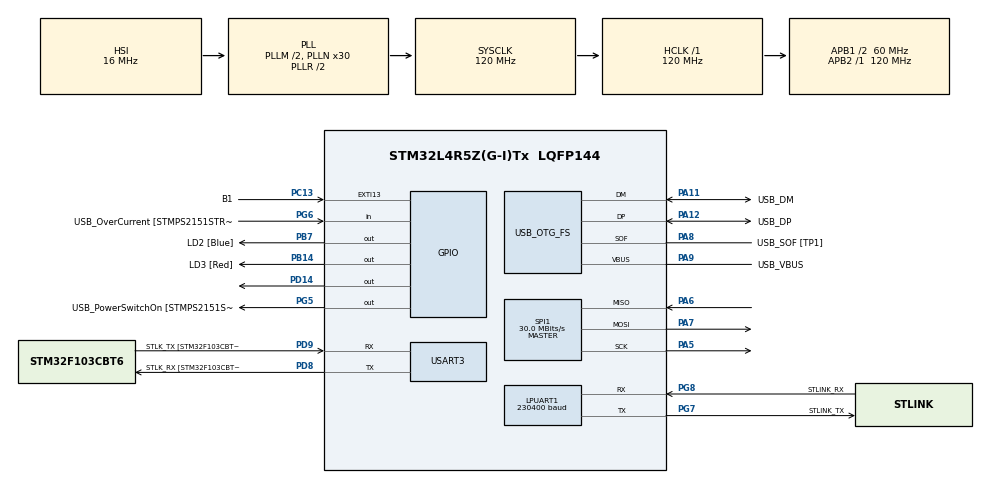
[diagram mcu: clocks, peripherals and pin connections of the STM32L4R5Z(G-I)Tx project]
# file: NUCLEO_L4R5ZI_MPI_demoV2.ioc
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Dma.LPUART1_RX.0.Direction=DMA_PERIPH_TO_MEMORY
Dma.LPUART1_RX.0.EventEnable=DISABLE
Dma.LPUART1_RX.0.Instance=DMA1_Channel1
Dma.LPUART1_RX.0.MemDataAlignment=DMA_MDATAALIGN_BYTE
Dma.LPUART1_RX.0.MemInc=DMA_MINC_ENABLE
Dma.LPUART1_RX.0.Mode=DMA_NORMAL
Dma.LPUART1_RX.0.PeriphDataAlignment=DMA_PDATAALIGN_BYTE
Dma.LPUART1_RX.0.PeriphInc=DMA_PINC_DISABLE
Dma.LPUART1_RX.0.Polarity=HAL_DMAMUX_REQUEST_GEN_RISING
Dma.LPUART1_RX.0.Priority=DMA_PRIORITY_LOW
Dma.LPUART1_RX.0.RequestNumber=1
Dma.LPUART1_RX.0.SignalID=NONE
Dma.LPUART1_RX.0.SyncEnable=DISABLE
Dma.LPUART1_RX.0.SyncPolarity=HAL_DMAMUX_SYNC_NO_EVENT
Dma.LPUART1_RX.0.SyncRequestNumber=1
Dma.LPUART1_RX.0.SyncSignalID=NONE
Dma.Request0=LPUART1_RX
LPUART1.BaudRate=230400
LPUART1.WordLength=UART_WORDLENGTH_8B
Mcu.Family=STM32L4
Mcu.Name=STM32L4R5Z(G-I)Tx
Mcu.Package=LQFP144
NVIC.DMA1_Channel1_IRQn=true\:0\:0\:false\:false\:true\:false\:true
NVIC.PriorityGroup=NVIC_PRIORITYGROUP_4
PA10.GPIO_Label=USB_ID
PA10.Signal=USB_OTG_FS_ID
PA11.GPIO_Label=USB_DM
PA11.Mode=Device_Only
PA11.Signal=USB_OTG_FS_DM
PA12.GPIO_Label=USB_DP
PA12.Mode=Device_Only
PA12.Signal=USB_OTG_FS_DP
PA13\ (JTMS/SWDIO).GPIO_Label=TMS
PA13\ (JTMS/SWDIO).Mode=Trace_Asynchronous_SW
PA13\ (JTMS/SWDIO).Signal=SYS_JTMS-SWDIO
PA14\ (JTCK/SWCLK).GPIO_Label=TCK
PA14\ (JTCK/SWCLK).Mode=Trace_Asynchronous_SW
PA14\ (JTCK/SWCLK).Signal=SYS_JTCK-SWCLK
PA5.Mode=Full_Duplex_Master
PA5.Signal=SPI1_SCK
PA6.Mode=Full_Duplex_Master
PA6.Signal=SPI1_MISO
PA7.Mode=Full_Duplex_Master
PA7.Signal=SPI1_MOSI
PA8.GPIO_Label=USB_SOF [TP1]
PA8.Mode=Activate_SOF_FS
PA8.Signal=USB_OTG_FS_SOF
PA9.GPIO_Label=USB_VBUS
PA9.Mode=Activate_VBUS
PA9.Signal=USB_OTG_FS_VBUS
PB14.GPIO_Label=LD3 [Red]
PB14.Signal=GPIO_Output
PB3\ (JTDO/TRACESWO).GPIO_Label=SWO
PB3\ (JTDO/TRACESWO).Mode=Trace_Asynchronous_SW
PB3\ (JTDO/TRACESWO).Signal=SYS_JTDO-SWO
PB7.GPIO_Label=LD2 [Blue]
PB7.Signal=GPIO_Output
PC13.GPIO_Label=B1
PC13.Signal=GPXTI13
PC14-OSC32_IN\ (PC14).Mode=LSE-External-Oscillator
PC14-OSC32_IN\ (PC14).Signal=RCC_OSC32_IN
PC15-OSC32_OUT\ (PC15).Mode=LSE-External-Oscillator
PC15-OSC32_OUT\ (PC15).Signal=RCC_OSC32_OUT
PD14.Signal=GPIO_Output
PD8.GPIO_Label=STLK_RX [STM32F103CBT6_PA3]
PD8.Mode=Asynchronous
PD8.Signal=USART3_TX
PD9.GPIO_Label=STLK_TX [STM32F103CBT6_PA2]
PD9.Mode=Asynchronous
PD9.Signal=USART3_RX
PG5.GPIO_Label=USB_PowerSwitchOn [STMPS2151STR_EN]
PG5.Signal=GPIO_Output
PG6.GPIO_Label=USB_OverCurrent [STMPS2151STR_FAULT]
PG6.Signal=GPIO_Input
PG7.GPIO_Label=STLINK_TX
PG7.Mode=Asynchronous
PG7.Signal=LPUART1_TX
PG8.GPIO_Label=STLINK_RX
PG8.Mode=Asynchronous
PG8.Signal=LPUART1_RX
PH0-OSC_IN\ (PH0).Signal=RCC_OSC_IN
PH1-OSC_OUT\ (PH1).Signal=RCC_OSC_OUT
ProjectManager.HeapSize=0x200
ProjectManager.StackSize=0x400
ProjectManager.TargetToolchain=STM32CubeIDE
RCC.48MHZClocksFreq_Value=24000000
RCC.ADCFreq_Value=96000000
RCC.AHBFreq_Value=120000000
RCC.APB1CLKDivider=RCC_HCLK_DIV2
RCC.APB1Freq_Value=60000000
RCC.APB1TimFreq_Value=120000000
RCC.APB2Freq_Value=120000000
RCC.APB2TimFreq_Value=120000000
RCC.CK48CLockSelection=RCC_USBCLKSOURCE_HSI48
RCC.CortexFreq_Value=120000000
RCC.HCLKFreq_Value=120000000
RCC.HSE_VALUE=8000000
RCC.HSI48_VALUE=48000000
RCC.HSI_VALUE=16000000
RCC.MSI_VALUE=4000000
RCC.PLLM1=2
RCC.PLLMUL=RCC_PLL_MUL9
RCC.PLLN=30
RCC.PLLSAI1N=12
RCC.PLLSourceVirtual=RCC_PLLSOURCE_HSI
RCC.PRESCALERUSB=RCC_USBCLKSOURCE_PLL_DIV1_5
RCC.SYSCLKFreq_VALUE=120000000
RCC.SYSCLKSource=RCC_SYSCLKSOURCE_PLLCLK
RCC.SYSCLKSourceVirtual=RCC_SYSCLKSOURCE_PLLCLK
RCC.USBFreq_Value=48000000
RCC.VCOOutputFreq_Value=240000000
SPI1.BaudRatePrescaler=SPI_BAUDRATEPRESCALER_4
SPI1.CalculateBaudRate=30.0 MBits/s
SPI1.DataSize=SPI_DATASIZE_8BIT
SPI1.Direction=SPI_DIRECTION_2LINES
SPI1.Mode=SPI_MODE_MASTER
SPI1.VirtualType=VM_MASTER
USART3.VirtualMode-Asynchronous=VM_ASYNC
USB_OTG_FS.VirtualMode=Device_Only
board=NUCLEO-L4R5ZI

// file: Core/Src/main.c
/* USER CODE BEGIN Header */
/**
  ******************************************************************************
  * @file           : main.c
  * @brief          : Main program body
  ******************************************************************************
  * @attention
  *
  * <h2><center>&copy; Copyright (c) 2021 STMicroelectronics.
  * All rights reserved.</center></h2>
  *
  * This software component is licensed by ST under BSD 3-Clause license,
  * the "License"; You may not use this file except in compliance with the
  * License. You may obtain a copy of the License at:
  *                        opensource.org/licenses/BSD-3-Clause
  *
  ******************************************************************************
  */
/* USER CODE END Header */
#include "main.h"

/* USER CODE BEGIN Includes */
#include <string.h>
/* USER CODE END Includes */

UART_HandleTypeDef hlpuart1;
UART_HandleTypeDef huart3;
DMA_HandleTypeDef hdma_lpuart1_rx;

SPI_HandleTypeDef hspi1;

PCD_HandleTypeDef hpcd_USB_OTG_FS;

/* USER CODE BEGIN PV */

//note assuming allocating all storage for MPI
const uint8_t FLASH_READ = 0x03;
const uint8_t FLASH_WRITE = 0x02;
const uint8_t FLASH_WREN = 0x06;
const uint8_t FLASH_WRDI = 0x04;
const uint8_t FLASH_ER4 = 0x20;
const uint8_t FLASH_ER32 = 0x52;
const uint8_t FLASH_ER64 = 0xd8;
const uint8_t FLASH_ERCP = 0xC7;
const uint8_t FLASH_STATREG1 = 0X05;

/* USER CODE END PV */

void SystemClock_Config(void);
static void MX_GPIO_Init(void);
static void MX_DMA_Init(void);
static void MX_LPUART1_UART_Init(void);
static void MX_USART3_UART_Init(void);
static void MX_USB_OTG_FS_PCD_Init(void);
static void MX_SPI1_Init(void);
/* USER CODE BEGIN PFP */

void read_flash_memory(uint32_t read_adress);

/* USER CODE END PFP */

/* USER CODE BEGIN 0 */

uint8_t UART1_rxBuffer[160] = {0};
uint8_t MPI_sync_bytes[4] = {0x0c, 0xff, 0xff, 0x0c};
uint8_t MPI_housekeeping[18] = {0};
uint8_t UART1_txBuffer[160] = {0};
uint8_t flash_buffer[256] = {0};
uint8_t flash_buffer_capacity = 0;
uint32_t page_number = 0;
uint8_t address[3] = {0};
uint8_t read_address[3] = {0};
uint8_t spiRX_buf[256] = {0};

uint8_t mpi_read_buffer[7650];	//strictly for verifying functionality
char uart_buf[160];

/* USER CODE END 0 */

int main(void)
{

  /* MCU Configuration--------------------------------------------------------*/

  /* Reset of all peripherals, Initializes the Flash interface and the Systick. */
  HAL_Init();

  /* Configure the system clock */
  SystemClock_Config();

  /* Initialize all configured peripherals */
  MX_GPIO_Init();
  MX_DMA_Init();
  MX_LPUART1_UART_Init();
  MX_USART3_UART_Init();
  MX_USB_OTG_FS_PCD_Init();
  MX_SPI1_Init();
  /* USER CODE BEGIN 2 */

  // Send something to UART
	strcpy((char*)uart_buf, "Testing MPI Demo\r\n");
	HAL_UART_Transmit(&hlpuart1, (uint8_t *)uart_buf, strlen((char*)uart_buf), 160);

	//start DMA
	HAL_UART_Receive_DMA(&hlpuart1, UART1_rxBuffer, 160);

	//check to see if status reg
	HAL_GPIO_WritePin(GPIOD, GPIO_PIN_14, GPIO_PIN_RESET);
	HAL_SPI_Transmit(&hspi1, (uint8_t *)&FLASH_STATREG1, 1, 100);	//opcode for read
	HAL_SPI_Receive(&hspi1, (uint8_t *)spiRX_buf, 1, 100);	//Receive data
	HAL_GPIO_WritePin(GPIOD, GPIO_PIN_14, GPIO_PIN_SET);

	//write enable
	HAL_GPIO_WritePin(GPIOD, GPIO_PIN_14, GPIO_PIN_RESET);
	HAL_SPI_Transmit(&hspi1, (uint8_t*)&FLASH_WREN, 1, 100);
	HAL_GPIO_WritePin(GPIOD, GPIO_PIN_14, GPIO_PIN_SET);

	//check to see if status reg
	HAL_GPIO_WritePin(GPIOD, GPIO_PIN_14, GPIO_PIN_RESET);
	HAL_SPI_Transmit(&hspi1, (uint8_t *)&FLASH_STATREG1, 1, 100);	//opcode for read
	HAL_SPI_Receive(&hspi1, (uint8_t *)spiRX_buf, 1, 100);	//Receive data
	HAL_GPIO_WritePin(GPIOD, GPIO_PIN_14, GPIO_PIN_SET);

	//erase chip (16 pages)
	HAL_GPIO_WritePin(GPIOD, GPIO_PIN_14, GPIO_PIN_RESET);
	HAL_SPI_Transmit(&hspi1, (uint8_t*)&FLASH_ERCP, 1, 100);
	HAL_GPIO_WritePin(GPIOD, GPIO_PIN_14, GPIO_PIN_SET);

	uint8_t wip = 1;
	while (wip)	//wait will erase is done
	{

		// Read status register
		HAL_GPIO_WritePin(GPIOD, GPIO_PIN_14, GPIO_PIN_RESET);
		HAL_SPI_Transmit(&hspi1, (uint8_t *)&FLASH_STATREG1, 1, 100);	//opcode for read
		HAL_SPI_Receive(&hspi1, (uint8_t *)spiRX_buf, 1, 100);	//Receive data
		HAL_GPIO_WritePin(GPIOD, GPIO_PIN_14, GPIO_PIN_SET);

		// Mask out WIP bit
		wip = spiRX_buf[0] & 0b00000001;
	}

	//turn on frame transmitting TC
	UART1_txBuffer[0] = 0x54;
	UART1_txBuffer[1] = 0x43;
	UART1_txBuffer[2] = 0x9;
	HAL_UART_Transmit(&hlpuart1, (uint8_t *)UART1_txBuffer, strlen((char*)UART1_txBuffer), 160);

  /* USER CODE END 2 */

  /* Infinite loop */
  while (1)
  {

  }
}

void SystemClock_Config(void)
{
  RCC_OscInitTypeDef RCC_OscInitStruct = {0};
  RCC_ClkInitTypeDef RCC_ClkInitStruct = {0};
  RCC_PeriphCLKInitTypeDef PeriphClkInit = {0};

  /** Configure the main internal regulator output voltage
  */
  if (HAL_PWREx_ControlVoltageScaling(PWR_REGULATOR_VOLTAGE_SCALE1_BOOST) != HAL_OK)
  {
    Error_Handler();
  }
  /** Initializes the RCC Oscillators according to the specified parameters
  * in the RCC_OscInitTypeDef structure.
  */
  RCC_OscInitStruct.OscillatorType = RCC_OSCILLATORTYPE_HSI48|RCC_OSCILLATORTYPE_HSI;
  RCC_OscInitStruct.HSIState = RCC_HSI_ON;
  RCC_OscInitStruct.HSI48State = RCC_HSI48_ON;
  RCC_OscInitStruct.HSICalibrationValue = RCC_HSICALIBRATION_DEFAULT;
  RCC_OscInitStruct.PLL.PLLState = RCC_PLL_ON;
  RCC_OscInitStruct.PLL.PLLSource = RCC_PLLSOURCE_HSI;
  RCC_OscInitStruct.PLL.PLLM = 2;
  RCC_OscInitStruct.PLL.PLLN = 30;
  RCC_OscInitStruct.PLL.PLLP = RCC_PLLP_DIV2;
  RCC_OscInitStruct.PLL.PLLQ = RCC_PLLQ_DIV2;
  RCC_OscInitStruct.PLL.PLLR = RCC_PLLR_DIV2;
  if (HAL_RCC_OscConfig(&RCC_OscInitStruct) != HAL_OK)
  {
    Error_Handler();
  }
  /** Initializes the CPU, AHB and APB buses clocks
  */
  RCC_ClkInitStruct.ClockType = RCC_CLOCKTYPE_HCLK|RCC_CLOCKTYPE_SYSCLK
                              |RCC_CLOCKTYPE_PCLK1|RCC_CLOCKTYPE_PCLK2;
  RCC_ClkInitStruct.SYSCLKSource = RCC_SYSCLKSOURCE_PLLCLK;
  RCC_ClkInitStruct.AHBCLKDivider = RCC_SYSCLK_DIV1;
  RCC_ClkInitStruct.APB1CLKDivider = RCC_HCLK_DIV2;
  RCC_ClkInitStruct.APB2CLKDivider = RCC_HCLK_DIV1;

  if (HAL_RCC_ClockConfig(&RCC_ClkInitStruct, FLASH_LATENCY_5) != HAL_OK)
  {
    Error_Handler();
  }
  PeriphClkInit.PeriphClockSelection = RCC_PERIPHCLK_USART3|RCC_PERIPHCLK_LPUART1
                              |RCC_PERIPHCLK_USB;
  PeriphClkInit.Usart3ClockSelection = RCC_USART3CLKSOURCE_PCLK1;
  PeriphClkInit.Lpuart1ClockSelection = RCC_LPUART1CLKSOURCE_PCLK1;
  PeriphClkInit.UsbClockSelection = RCC_USBCLKSOURCE_HSI48;
  if (HAL_RCCEx_PeriphCLKConfig(&PeriphClkInit) != HAL_OK)
  {
    Error_Handler();
  }
}

static void MX_LPUART1_UART_Init(void)
{

  hlpuart1.Instance = LPUART1;
  hlpuart1.Init.BaudRate = 230400;
  hlpuart1.Init.WordLength = UART_WORDLENGTH_8B;
  hlpuart1.Init.StopBits = UART_STOPBITS_1;
  hlpuart1.Init.Parity = UART_PARITY_NONE;
  hlpuart1.Init.Mode = UART_MODE_TX_RX;
  hlpuart1.Init.HwFlowCtl = UART_HWCONTROL_NONE;
  hlpuart1.Init.OneBitSampling = UART_ONE_BIT_SAMPLE_DISABLE;
  hlpuart1.Init.ClockPrescaler = UART_PRESCALER_DIV1;
  hlpuart1.AdvancedInit.AdvFeatureInit = UART_ADVFEATURE_NO_INIT;
  hlpuart1.FifoMode = UART_FIFOMODE_DISABLE;
  if (HAL_UART_Init(&hlpuart1) != HAL_OK)
  {
    Error_Handler();
  }
  if (HAL_UARTEx_SetTxFifoThreshold(&hlpuart1, UART_TXFIFO_THRESHOLD_1_8) != HAL_OK)
  {
    Error_Handler();
  }
  if (HAL_UARTEx_SetRxFifoThreshold(&hlpuart1, UART_RXFIFO_THRESHOLD_1_8) != HAL_OK)
  {
    Error_Handler();
  }
  if (HAL_UARTEx_DisableFifoMode(&hlpuart1) != HAL_OK)
  {
    Error_Handler();
  }

}

static void MX_USART3_UART_Init(void)
{

  huart3.Instance = USART3;
  huart3.Init.BaudRate = 115200;
  huart3.Init.WordLength = UART_WORDLENGTH_8B;
  huart3.Init.StopBits = UART_STOPBITS_1;
  huart3.Init.Parity = UART_PARITY_NONE;
  huart3.Init.Mode = UART_MODE_TX_RX;
  huart3.Init.HwFlowCtl = UART_HWCONTROL_NONE;
  huart3.Init.OverSampling = UART_OVERSAMPLING_16;
  huart3.Init.OneBitSampling = UART_ONE_BIT_SAMPLE_DISABLE;
  huart3.Init.ClockPrescaler = UART_PRESCALER_DIV1;
  huart3.AdvancedInit.AdvFeatureInit = UART_ADVFEATURE_NO_INIT;
  if (HAL_UART_Init(&huart3) != HAL_OK)
  {
    Error_Handler();
  }
  if (HAL_UARTEx_SetTxFifoThreshold(&huart3, UART_TXFIFO_THRESHOLD_1_8) != HAL_OK)
  {
    Error_Handler();
  }
  if (HAL_UARTEx_SetRxFifoThreshold(&huart3, UART_RXFIFO_THRESHOLD_1_8) != HAL_OK)
  {
    Error_Handler();
  }
  if (HAL_UARTEx_DisableFifoMode(&huart3) != HAL_OK)
  {
    Error_Handler();
  }

}

static void MX_SPI1_Init(void)
{

  /* SPI1 parameter configuration*/
  hspi1.Instance = SPI1;
  hspi1.Init.Mode = SPI_MODE_MASTER;
  hspi1.Init.Direction = SPI_DIRECTION_2LINES;
  hspi1.Init.DataSize = SPI_DATASIZE_8BIT;
  hspi1.Init.CLKPolarity = SPI_POLARITY_LOW;
  hspi1.Init.CLKPhase = SPI_PHASE_1EDGE;
  hspi1.Init.NSS = SPI_NSS_SOFT;
  hspi1.Init.BaudRatePrescaler = SPI_BAUDRATEPRESCALER_4;
  hspi1.Init.FirstBit = SPI_FIRSTBIT_MSB;
  hspi1.Init.TIMode = SPI_TIMODE_DISABLE;
  hspi1.Init.CRCCalculation = SPI_CRCCALCULATION_DISABLE;
  hspi1.Init.CRCPolynomial = 7;
  hspi1.Init.CRCLength = SPI_CRC_LENGTH_DATASIZE;
  hspi1.Init.NSSPMode = SPI_NSS_PULSE_ENABLE;
  if (HAL_SPI_Init(&hspi1) != HAL_OK)
  {
    Error_Handler();
  }

}

static void MX_USB_OTG_FS_PCD_Init(void)
{

  hpcd_USB_OTG_FS.Instance = USB_OTG_FS;
  hpcd_USB_OTG_FS.Init.dev_endpoints = 6;
  hpcd_USB_OTG_FS.Init.phy_itface = PCD_PHY_EMBEDDED;
  hpcd_USB_OTG_FS.Init.Sof_enable = ENABLE;
  hpcd_USB_OTG_FS.Init.low_power_enable = DISABLE;
  hpcd_USB_OTG_FS.Init.lpm_enable = DISABLE;
  hpcd_USB_OTG_FS.Init.battery_charging_enable = ENABLE;
  hpcd_USB_OTG_FS.Init.use_dedicated_ep1 = DISABLE;
  hpcd_USB_OTG_FS.Init.vbus_sensing_enable = ENABLE;
  if (HAL_PCD_Init(&hpcd_USB_OTG_FS) != HAL_OK)
  {
    Error_Handler();
  }

}

static void MX_DMA_Init(void)
{

  /* DMA controller clock enable */
  __HAL_RCC_DMAMUX1_CLK_ENABLE();
  __HAL_RCC_DMA1_CLK_ENABLE();

  /* DMA interrupt init */
  /* DMA1_Channel1_IRQn interrupt configuration */
  HAL_NVIC_SetPriority(DMA1_Channel1_IRQn, 0, 0);
  HAL_NVIC_EnableIRQ(DMA1_Channel1_IRQn);

}

static void MX_GPIO_Init(void)
{
  GPIO_InitTypeDef GPIO_InitStruct = {0};

  /* GPIO Ports Clock Enable */
  __HAL_RCC_GPIOC_CLK_ENABLE();
  __HAL_RCC_GPIOH_CLK_ENABLE();
  __HAL_RCC_GPIOA_CLK_ENABLE();
  __HAL_RCC_GPIOB_CLK_ENABLE();
  __HAL_RCC_GPIOD_CLK_ENABLE();
  __HAL_RCC_GPIOG_CLK_ENABLE();
  HAL_PWREx_EnableVddIO2();

  /*Configure GPIO pin Output Level */
  HAL_GPIO_WritePin(GPIOB, LD3_Pin|LD2_Pin, GPIO_PIN_RESET);

  /*Configure GPIO pin Output Level */
  HAL_GPIO_WritePin(GPIOD, GPIO_PIN_14, GPIO_PIN_RESET);

  /*Configure GPIO pin Output Level */
  HAL_GPIO_WritePin(USB_PowerSwitchOn_GPIO_Port, USB_PowerSwitchOn_Pin, GPIO_PIN_RESET);

  /*Configure GPIO pin : B1_Pin */
  GPIO_InitStruct.Pin = B1_Pin;
  GPIO_InitStruct.Mode = GPIO_MODE_IT_RISING;
  GPIO_InitStruct.Pull = GPIO_NOPULL;
  HAL_GPIO_Init(B1_GPIO_Port, &GPIO_InitStruct);

  /*Configure GPIO pins : LD3_Pin LD2_Pin */
  GPIO_InitStruct.Pin = LD3_Pin|LD2_Pin;
  GPIO_InitStruct.Mode = GPIO_MODE_OUTPUT_PP;
  GPIO_InitStruct.Pull = GPIO_NOPULL;
  GPIO_InitStruct.Speed = GPIO_SPEED_FREQ_LOW;
  HAL_GPIO_Init(GPIOB, &GPIO_InitStruct);

  /*Configure GPIO pin : PD14 */
  GPIO_InitStruct.Pin = GPIO_PIN_14;
  GPIO_InitStruct.Mode = GPIO_MODE_OUTPUT_PP;
  GPIO_InitStruct.Pull = GPIO_NOPULL;
  GPIO_InitStruct.Speed = GPIO_SPEED_FREQ_LOW;
  HAL_GPIO_Init(GPIOD, &GPIO_InitStruct);

  /*Configure GPIO pin : USB_PowerSwitchOn_Pin */
  GPIO_InitStruct.Pin = USB_PowerSwitchOn_Pin;
  GPIO_InitStruct.Mode = GPIO_MODE_OUTPUT_PP;
  GPIO_InitStruct.Pull = GPIO_NOPULL;
  GPIO_InitStruct.Speed = GPIO_SPEED_FREQ_LOW;
  HAL_GPIO_Init(USB_PowerSwitchOn_GPIO_Port, &GPIO_InitStruct);

  /*Configure GPIO pin : USB_OverCurrent_Pin */
  GPIO_InitStruct.Pin = USB_OverCurrent_Pin;
  GPIO_InitStruct.Mode = GPIO_MODE_INPUT;
  GPIO_InitStruct.Pull = GPIO_NOPULL;
  HAL_GPIO_Init(USB_OverCurrent_GPIO_Port, &GPIO_InitStruct);

}

/* USER CODE BEGIN 4 */
void HAL_UART_RxCpltCallback(UART_HandleTypeDef *hlpuart1)
{
	//toggle red to show
	HAL_GPIO_TogglePin(GPIOB, GPIO_PIN_14);

	//return what i just got cuz idk whats heppening :/
	HAL_UART_Transmit(hlpuart1, (uint8_t *)UART1_rxBuffer, strlen((char*)UART1_rxBuffer), 160);

	//if its a data frame
	if(UART1_rxBuffer[0] == MPI_sync_bytes[0] && UART1_rxBuffer[1] == MPI_sync_bytes[1] && UART1_rxBuffer[2] == MPI_sync_bytes[2] && UART1_rxBuffer[3] == MPI_sync_bytes[3]){

		//calculate address array from page number
		if(page_number == 3){
			page_number++;
			page_number--;
		}
//		uint8_t d = 0xff;
//		uint8_t e = 0x

		address[2] = ((page_number*256) & (uint32_t)0x0000ff);
		address[1] = ((page_number*256) & (uint32_t)0x00ff00)>>8;
		address[0] = ((page_number*256) & (uint32_t)0xff0000)>>16;

//		//address: [0][1][2]
//		address[2] = 0b00000000;
//		address[1] = 0b00000000;
//		address[0] = 0b00000000;

		//store header data (uncomment if needed)
//		for(int i = 0; i < 18; i++){
//			MPI_housekeeping[i] = UART1_rxBuffer[4+i];
//		}

		//toggle led blue to show
		HAL_GPIO_TogglePin(GPIOB, GPIO_PIN_7);

		//store into MPI buffer
		for(int i = 0; i<160; i++){
			//if buffer if full (time to write a full page)
			if(flash_buffer_capacity == 255){
			//add stored bytes

/* removes for debugging, going to do chip erase
				//erase sector if needed
				if(page_number % 16 == 0){//if onto new sector erase that sector so it can be properly written to
				   //write enable
					HAL_GPIO_WritePin(GPIOD, GPIO_PIN_14, GPIO_PIN_RESET);
					HAL_SPI_Transmit(&hspi1, (uint8_t*)&FLASH_WREN, 1, 100);
					HAL_GPIO_WritePin(GPIOD, GPIO_PIN_14, GPIO_PIN_SET);

					//erase sector (16 pages)
					HAL_GPIO_WritePin(GPIOD, GPIO_PIN_14, GPIO_PIN_RESET);
					HAL_SPI_Transmit(&hspi1, (uint8_t*)&FLASH_ER4, 1, 100);
					HAL_SPI_Transmit(&hspi1, (uint8_t*)&address, 3, 100);			//write address
					HAL_GPIO_WritePin(GPIOD, GPIO_PIN_14, GPIO_PIN_SET);

					uint8_t wip = 1;
					while (wip)	//wait will erase is done
					{
						// Read status register
						HAL_GPIO_WritePin(GPIOD, GPIO_PIN_14, GPIO_PIN_RESET);
						HAL_SPI_Transmit(&hspi1, (uint8_t *)&FLASH_STATREG1, 1, 100);	//opcode for read
						HAL_SPI_Receive(&hspi1, (uint8_t *)spiRX_buf, 1, 100);	//Receive data
						HAL_GPIO_WritePin(GPIOD, GPIO_PIN_14, GPIO_PIN_SET);

						// Mask out WIP bit
						wip = spiRX_buf[0] & 0b00000001;
					}
				}

*/

				//write enable
				HAL_GPIO_WritePin(GPIOD, GPIO_PIN_14, GPIO_PIN_RESET);
				HAL_SPI_Transmit(&hspi1, (uint8_t*)&FLASH_WREN, 1, 100);
				HAL_GPIO_WritePin(GPIOD, GPIO_PIN_14, GPIO_PIN_SET);

				//write data
				HAL_GPIO_WritePin(GPIOD, GPIO_PIN_14, GPIO_PIN_RESET);	//cs low
				HAL_SPI_Transmit(&hspi1, (uint8_t*)&FLASH_WRITE, 1, 100);	//write opcode
				HAL_SPI_Transmit(&hspi1, (uint8_t*)&address, 3, 100);			//write address
				HAL_SPI_Transmit(&hspi1, (uint8_t*)&flash_buffer, 256, 100);//data
				HAL_GPIO_WritePin(GPIOD, GPIO_PIN_14, GPIO_PIN_SET);

				//wait till write is done
				uint8_t wip = 1;
				while (wip)
				{
					// Read status register
					HAL_GPIO_WritePin(GPIOD, GPIO_PIN_14, GPIO_PIN_RESET);
					HAL_SPI_Transmit(&hspi1, (uint8_t *)&FLASH_STATREG1, 1, 100);	//opcode for read
					HAL_SPI_Receive(&hspi1, (uint8_t *)spiRX_buf, 1, 100);	//Receive data
					HAL_GPIO_WritePin(GPIOD, GPIO_PIN_14, GPIO_PIN_SET);

					// Mask out WIP bit
					wip = spiRX_buf[0] & 0b00000001;
				}

				page_number+=1;

				if(page_number == 15){	//once 15 pages have been written

					read_address[0] = (0*0xff)& 0x000000ff;
					read_address[1] = (0*0xff)& 0x0000ff00;
					read_address[2] = (0*0xff)& 0x00ff0000;

					//read the data back
					HAL_GPIO_WritePin(GPIOD, GPIO_PIN_14, GPIO_PIN_RESET);	//cs low
					HAL_SPI_Transmit(&hspi1, (uint8_t *)&FLASH_READ, 1, 100);	//opcode for read
					HAL_SPI_Transmit(&hspi1, (uint8_t*)&read_address, 3, 100);			//address to read
					HAL_SPI_Receive(&hspi1, (uint8_t *)mpi_read_buffer, 7650, 100);	// recive data (should read 7650 bytes of data (30 pages))
					HAL_GPIO_WritePin(GPIOD, GPIO_PIN_14, GPIO_PIN_SET);

				}
				flash_buffer_capacity = 0;
			}

			if(flash_buffer_capacity < 255){	//buffer not full yet...
				flash_buffer[flash_buffer_capacity] = UART1_rxBuffer[i];
				flash_buffer_capacity++;
			}

		}
	}

	else if(UART1_rxBuffer[0] == 0x54 && UART1_rxBuffer[1] == 0x43){

		if(0){	//if telecommand fails TODO: create array with TC codes, where the verification byte is. if failed, then try again 3 times max, then give up.
			//HAL_UART_Transmit(&hlpuart1, UART1_txBuffer, strlen((char*)UART1_txBuffer), 100);
		}
	}

//	for(int i = 0; i<160; i++)
//		UART1_rxBuffer[i] = 0;

    HAL_UART_Receive_DMA(hlpuart1, UART1_rxBuffer, 160);
}

void read_flash_memory(uint32_t read_adress){

}
/* USER CODE END 4 */

void Error_Handler(void)
{
  __disable_irq();
  while (1)
  {
  }
}

/************************ (C) COPYRIGHT STMicroelectronics *****END OF FILE****/
